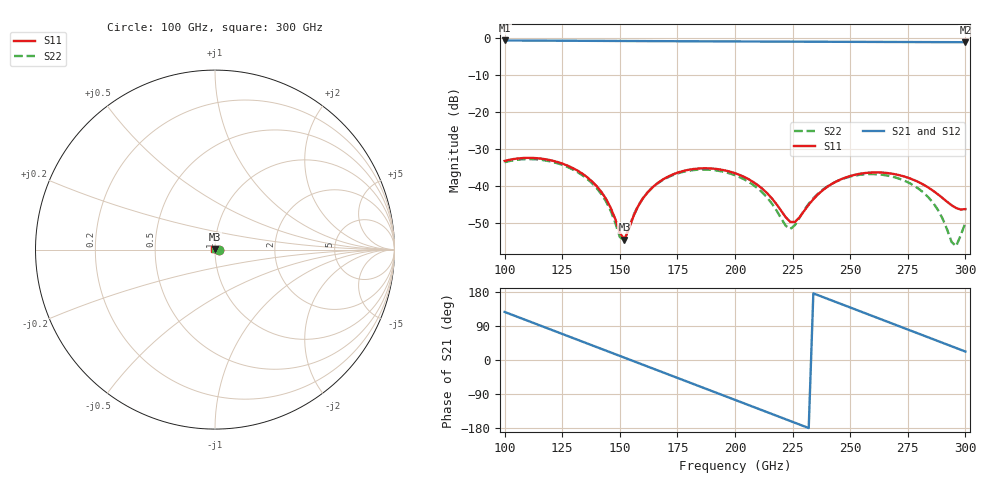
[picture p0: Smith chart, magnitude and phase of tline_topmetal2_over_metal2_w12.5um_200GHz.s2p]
#  GHZ S DB R 50
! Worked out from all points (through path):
!   101 points, 100 GHz to 300 GHz, reference 50 ohm
!   highest |S21| = -0.72 dB at 100 GHz (marker M1); lowest = -1.2 dB at 300 GHz (marker M2)
!   group delay of S21, straight-line fit = 6.45 ps
!   lowest |S11| = -54.3 dB at 152 GHz (marker M3), VSWR 1.00, Z = 49.9 + j0.134 ohm
!   |S11| at or under -10 dB: start of sweep to end of sweep
!   |S22| runs from -56.1 to -32.7 dB; largest |S21 - S12| = 1.1e-14
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100  -33.17 -8.3  -0.72 126.8  -0.72 126.8  -33.52 -6.2
116  -32.56 -46.4  -0.76 89.7  -0.76 89.7  -32.89 -44.6
124  -33.66 -65.8  -0.78 71.1  -0.78 71.1  -34.02 -64.0
134  -36.71 -91.5  -0.81 47.9  -0.81 47.9  -37.13 -89.7
144  -43.38 -123.9  -0.84 24.7  -0.84 24.7  -44.06 -122.2
150  -52.51 -175.1  -0.86 10.8  -0.86 10.8  -53.66 -179.0
152  -54.33 135.6  -0.86 6.2  -0.86 6.2  -54.57 128.0
158  -45.31 59.7  -0.88 -7.8  -0.88 -7.8  -45.17 60.2
168  -38.43 24.3  -0.91 -31.0  -0.91 -31.0  -38.56 26.2
184  -35.22 -18.3  -0.95 -68.1  -0.95 -68.1  -35.52 -15.6
200  -36.47 -60.9  -0.98 -105.2  -0.98 -105.2  -37.02 -57.4
212  -40.73 -98.9  -1.01 -133.1  -1.01 -133.1  -41.75 -94.6
224  -49.59 174.0  -1.04 -161.0  -1.04 -161.0  -51.51 164.0
226  -49.60 145.4  -1.04 -165.6  -1.04 -165.6  -50.47 133.0
234  -43.48 76.0  -1.06 175.8  -1.06 175.8  -43.22 73.7
250  -37.23 19.5  -1.09 138.6  -1.09 138.6  -37.39 22.9
268  -36.59 -32.3  -1.13 96.7  -1.13 96.7  -37.36 -24.6
284  -40.37 -86.0  -1.16 59.5  -1.16 59.5  -43.01 -70.4
288  -42.12 -104.2  -1.16 50.2  -1.16 50.2  -46.28 -86.1
294  -45.10 -142.2  -1.18 36.2  -1.18 36.2  -54.99 -141.4
296  -45.87 -159.1  -1.18 31.6  -1.18 31.6  -56.13 170.1
300  -46.14 163.3  -1.19 22.3  -1.19 22.3  -49.84 111.0
